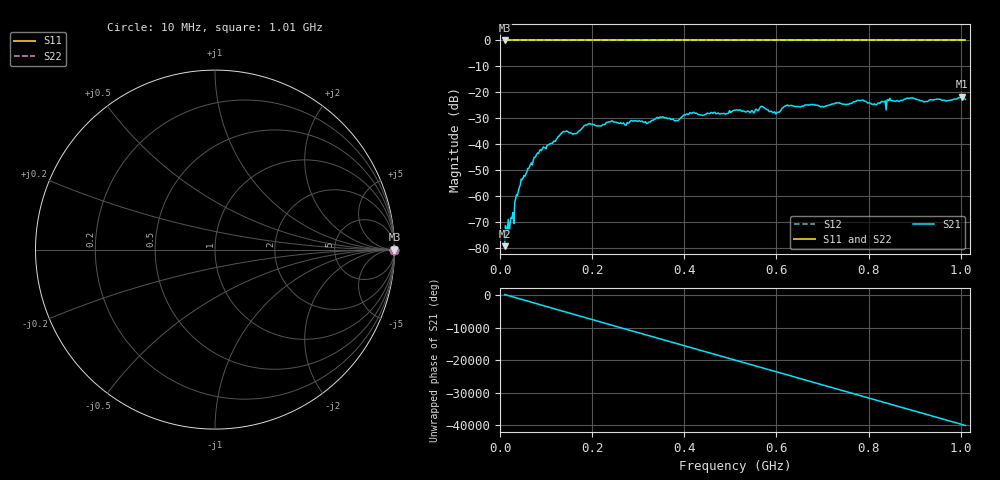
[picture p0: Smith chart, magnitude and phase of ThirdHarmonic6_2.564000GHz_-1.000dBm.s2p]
! 8/17/2025 5:19:33 AM
! C:\ANRITSUVNA\TEMP\TEMP.S2P
! CHANNEL.1
! TR.MEASUREMENT
! RAW.DATA
! RF.CORRECTION.OFF
! AVERAGING.OFF
! IF.BANDWIDTH: 5KHZ
! SWEEPTYPE:  FREQ.SWEEP(Linear)
! Reference Plane Port Info
! PORT:  PORT1  PORT2
! DISTANCE:  0  m  0  m
! TIME:  0  s  0  s
! PHASE.OFFSET:  0  deg.  0  deg.
! LOSS:  0  dB  0  dB
! REF.LOSS:  0  dB  0  dB
! REF.FREQ:  0  Hz  0  Hz
! Power Info
! POWER:  -20  dBm  -20  dBm
! EFF.POWER:  -20  dBm  -20  dBm
! SOURCE.ATTEN:  0  dB  0  dB
! TEST.ATTEN:  0  dB  0  dB
# GHZ S RI R 50.0
! FREQ.GHZ  S11RE  S11IM  S21RE  S21IM  S12RE  S12IM  S22RE  S22IM
!; PortSelection: Port_12
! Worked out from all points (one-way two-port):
!   501 points, 10 MHz to 1.01 GHz, reference 50 ohm
!   highest |S21| = -21.71 dB at 1.002 GHz (marker M1); lowest = -79.4 dB at 10 MHz (marker M2)
!   lowest |S11| = 0.0 dB at 10 MHz (marker M3)
!   |S11| at or under -10 dB: nowhere
!   |S22| runs from 0.0 to 0.0 dB; largest |S21 - S12| = 1.1
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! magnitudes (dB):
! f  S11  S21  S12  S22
! 10 MHz  0.0  -79.4  0.0  0.0
! 26 MHz  0.0  -68.6  0.0  0.0
! 36 MHz  0.0  -59.5  0.0  0.0
! 46 MHz  0.0  -53.5  0.0  0.0
! 78 MHz  0.0  -44.6  0.0  0.0
! 136 MHz  0.0  -35.4  0.0  0.0
! 162 MHz  0.0  -35.9  0.0  0.0
! 178 MHz  0.0  -33.8  0.0  0.0
! 344 MHz  0.0  -30.0  0.0  0.0
! 382 MHz  0.0  -30.8  0.0  0.0
! 416 MHz  0.0  -28.2  0.0  0.0
! 510 MHz  0.0  -26.9  0.0  0.0
! 548 MHz  0.0  -27.2  0.0  0.0
! 568 MHz  0.0  -25.4  0.0  0.0
! 602 MHz  0.0  -27.7  0.0  0.0
! 620 MHz  0.0  -25.2  0.0  0.0
! 678 MHz  0.0  -24.8  0.0  0.0
! 784 MHz  0.0  -23.1  0.0  0.0
! 814 MHz  0.0  -24.7  0.0  0.0
! 844 MHz  0.0  -23.2  0.0  0.0
! 1.002 GHz  0.0  -21.7  0.0  0.0
! 1.01 GHz  0.0  -22.8  0.0  0.0
